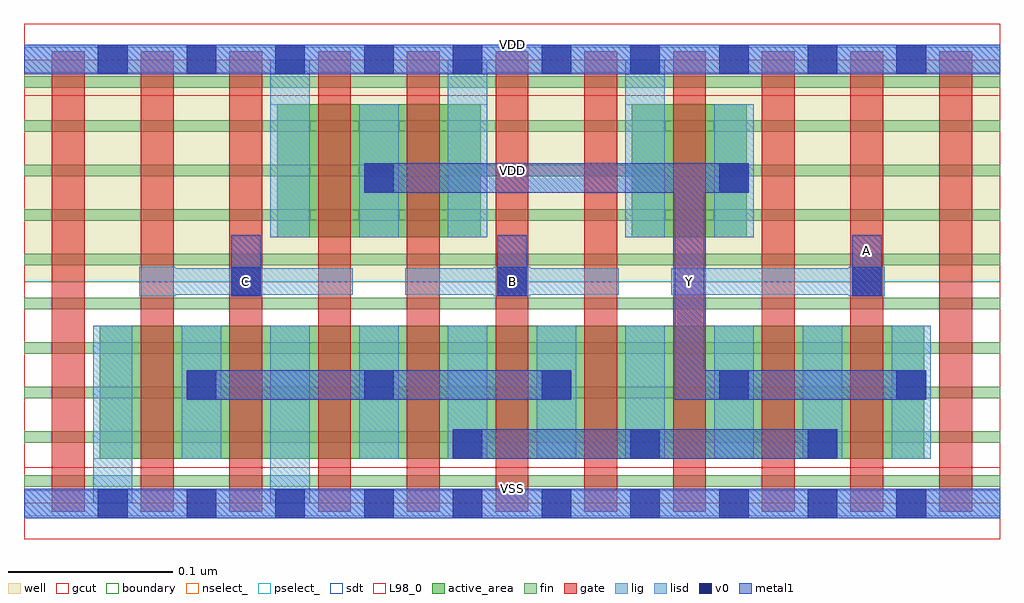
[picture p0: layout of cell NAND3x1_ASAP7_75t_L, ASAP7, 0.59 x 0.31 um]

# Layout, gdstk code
import gdstk
lib = gdstk.Library(unit=1e-6, precision=2.5e-10)
def R(c, l, rs):  # rectangles x0, y0, x1, y1
    for r in rs: c.add(gdstk.rectangle(r[:2], r[2:], *l))
def A(c, l, x, y, w, h, nx, ny, dx, dy):  # array of equal rectangles
    R(c, l, [(x+i*dx, y+j*dy, x+i*dx+w, y+j*dy+h) for i in range(nx) for j in range(ny)])
def P(c, l, *ps):  # polygons
    for p in ps: c.add(gdstk.Polygon(p, *l))
well = (1, 0)
fin = (2, 0)
gate = (7, 0)
gcut = (10, 0)
active_area = (11, 0)
nselect_ = (12, 0)
pselect_ = (13, 0)
lig = (16, 0)
lisd = (17, 0)
v0 = (18, 0)
metal1 = (19, 0)
sdt = (88, 0)
L98_0 = (98, 0)
boundary = (100, 0)

nand3x1_asap7_75t_l = lib.new_cell('NAND3x1_ASAP7_75t_L')
R(nand3x1_asap7_75t_l, well, [(0,0.135,0.594,0.27)])
A(nand3x1_asap7_75t_l, fin, 0, 0.01, 0.594, 0.007, 1, 10, 0, 0.027)
A(nand3x1_asap7_75t_l, gate, 0.017, -0.005, 0.02, 0.28, 11, 1, 0.054, 0)
R(nand3x1_asap7_75t_l, gcut, [(0,-0.022,0.594,0.022), (0,0.248,0.594,0.292)])
R(nand3x1_asap7_75t_l, active_area, [(0.046,0.027,0.548,0.108), (0.154,0.162,0.278,0.243), (0.37,0.162,0.44,0.243)])
R(nand3x1_asap7_75t_l, nselect_, [(0,0,0.594,0.135)])
R(nand3x1_asap7_75t_l, pselect_, [(0,0.135,0.594,0.27)])
A(nand3x1_asap7_75t_l, lig, 0.07, 0.126, 0.022, 0.018, 3, 1, 0.216, 0)
A(nand3x1_asap7_75t_l, lig, 0.07, 0.127, 0.13, 0.016, 3, 1, 0.162, 0)
R(nand3x1_asap7_75t_l, lig, [(0,-0.008,0.594,0.008), (0,0.262,0.594,0.278)])
A(nand3x1_asap7_75t_l, lisd, 0.204, 0.027, 0.024, 0.081, 7, 1, 0.054, 0)
R(nand3x1_asap7_75t_l, lisd, [(0.042,0,0.066,0.108), (0.042,0,0.066,0.108), (0.15,0,0.174,0.108), (0.15,0,0.174,0.108), (0.096,0.027,0.12,0.108), (0.15,0.162,0.174,0.27), (0.15,0.162,0.174,0.27), (0.204,0.162,0.228,0.243), (0.258,0.162,0.282,0.27), (0.258,0.162,0.282,0.27), (0.366,0.162,0.39,0.27), (0.366,0.162,0.39,0.27), (0.42,0.162,0.444,0.243)])
A(nand3x1_asap7_75t_l, v0, 0.045, -0.009, 0.018, 0.018, 10, 2, 0.054, 0.27)
A(nand3x1_asap7_75t_l, v0, 0.261, 0.027, 0.018, 0.018, 3, 1, 0.108, 0)
A(nand3x1_asap7_75t_l, v0, 0.099, 0.063, 0.018, 0.018, 5, 1, 0.108, 0)
R(nand3x1_asap7_75t_l, v0, [(0.126,0.126,0.144,0.144), (0.288,0.126,0.306,0.144), (0.504,0.126,0.522,0.144), (0.207,0.189,0.225,0.207), (0.423,0.189,0.441,0.207)])
A(nand3x1_asap7_75t_l, metal1, 0.261, 0.027, 0.018, 0.018, 3, 1, 0.108, 0)
A(nand3x1_asap7_75t_l, metal1, 0.099, 0.063, 0.018, 0.018, 5, 1, 0.108, 0)
R(nand3x1_asap7_75t_l, metal1, [(0,-0.009,0.594,0.009), (0.261,0.027,0.495,0.045), (0.099,0.063,0.333,0.081), (0.126,0.126,0.144,0.144), (0.126,0.126,0.144,0.163), (0.288,0.126,0.306,0.144), (0.288,0.126,0.306,0.163), (0.504,0.126,0.522,0.144), (0.504,0.126,0.522,0.163), (0.207,0.189,0.225,0.207), (0.423,0.189,0.441,0.207), (0,0.261,0.594,0.279)])
P(nand3x1_asap7_75t_l, metal1, [(0.414,0.189),(0.441,0.189),(0.441,0.207),(0.207,0.207),(0.207,0.189),(0.396,0.189),(0.396,0.063),(0.549,0.063),(0.549,0.081),(0.414,0.081)])
A(nand3x1_asap7_75t_l, sdt, 0.042, 0.027, 0.024, 0.081, 3, 1, 0.054, 0)
A(nand3x1_asap7_75t_l, sdt, 0.15, 0.027, 0.024, 0.081, 8, 1, 0.054, 0)
A(nand3x1_asap7_75t_l, sdt, 0.15, 0.162, 0.024, 0.081, 3, 1, 0.054, 0)
R(nand3x1_asap7_75t_l, sdt, [(0.042,0.027,0.066,0.108), (0.15,0.162,0.174,0.243), (0.258,0.162,0.282,0.243), (0.366,0.162,0.39,0.243), (0.366,0.162,0.39,0.243), (0.42,0.162,0.444,0.243)])
R(nand3x1_asap7_75t_l, L98_0, [(0,0,0.594,0.27)])
R(nand3x1_asap7_75t_l, boundary, [(0,0,0.594,0.27)])
nand3x1_asap7_75t_l.add(gdstk.Label('VDD', (0.297,0.2025), layer=1, texttype=251))
nand3x1_asap7_75t_l.add(gdstk.Label('VSS', (0.297,-0.0675), layer=3, texttype=251))
nand3x1_asap7_75t_l.add(gdstk.Label('VSS', (0.297,0.009), layer=19, texttype=251))
nand3x1_asap7_75t_l.add(gdstk.Label('VDD', (0.297,0.279), layer=19, texttype=251))
nand3x1_asap7_75t_l.add(gdstk.Label('C', (0.135,0.135), layer=19, texttype=251))
nand3x1_asap7_75t_l.add(gdstk.Label('Y', (0.405,0.135), layer=19, texttype=251))
nand3x1_asap7_75t_l.add(gdstk.Label('B', (0.297,0.135), layer=19, texttype=251))
nand3x1_asap7_75t_l.add(gdstk.Label('A', (0.513,0.154), layer=19, texttype=251))

lib.write_gds('NAND3x1_ASAP7_75t_L.gds')
